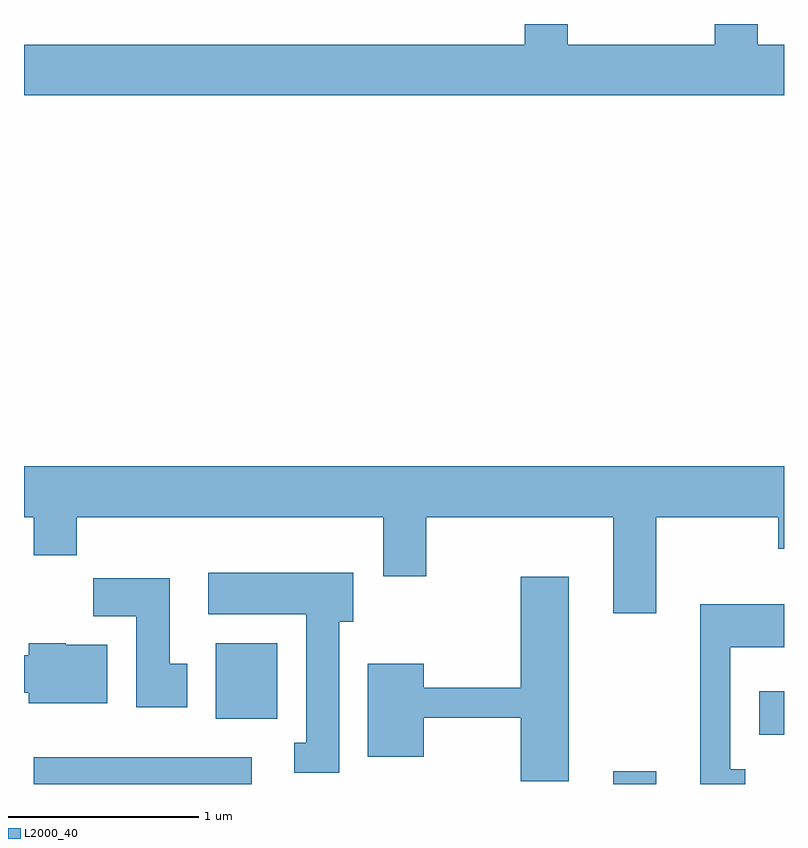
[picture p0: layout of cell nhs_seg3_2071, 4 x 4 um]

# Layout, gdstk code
import gdstk
lib = gdstk.Library(unit=1e-6, precision=1e-09)
def R(c, l, rs):  # rectangles x0, y0, x1, y1
    for r in rs: c.add(gdstk.rectangle(r[:2], r[2:], *l))
def P(c, l, *ps):  # polygons
    for p in ps: c.add(gdstk.Polygon(p, *l))
L2000_40 = (2000, 40)

nhs_seg3_2071 = lib.new_cell('nhs_seg3_2071')
R(nhs_seg3_2071, L2000_40, [(245.661,1177.892,246.809,1178.034), (248.711,1177.892,248.939,1177.959), (249.481,1178.151,249.611,1178.379), (246.621,1178.236,246.944,1178.634)])
P(nhs_seg3_2071, L2000_40, [(249.611,1181.784),(249.474,1181.784),(249.474,1181.892),(249.246,1181.892),(249.246,1181.784),(248.474,1181.784),(248.474,1181.892),(248.246,1181.892),(248.246,1181.784),(245.611,1181.784),(245.611,1181.516),(249.611,1181.516)],
  [(248.939,1179.296),(249.581,1179.296),(249.581,1179.131),(249.611,1179.131),(249.611,1179.564),(245.611,1179.564),(245.611,1179.296),(245.661,1179.296),(245.661,1179.096),(245.889,1179.096),(245.889,1179.296),(247.501,1179.296),(247.501,1178.986),(247.729,1178.986),(247.729,1179.296),(248.711,1179.296),(248.711,1178.791),(248.939,1178.791)],
  [(247.269,1178.746),(247.344,1178.746),(247.344,1179.004),(246.581,1179.004),(246.581,1178.786),(247.096,1178.786),(247.096,1178.109),(247.033,1178.109),(247.033,1177.951),(247.269,1177.951)],
  [(248.479,1178.984),(248.226,1178.984),(248.226,1178.399),(247.714,1178.399),(247.714,1178.524),(247.421,1178.524),(247.421,1178.036),(247.714,1178.036),(247.714,1178.241),(248.226,1178.241),(248.226,1177.906),(248.479,1177.906)],
  [(246.469,1178.524),(246.379,1178.524),(246.379,1178.974),(245.976,1178.974),(245.976,1178.776),(246.201,1178.776),(246.201,1178.296),(246.469,1178.296)],
  [(249.408,1177.969),(249.329,1177.969),(249.329,1178.611),(249.611,1178.611),(249.611,1178.839),(249.171,1178.839),(249.171,1177.892),(249.408,1177.892)],
  [(246.049,1178.624),(245.83,1178.624),(245.83,1178.634),(245.636,1178.634),(245.636,1178.569),(245.611,1178.569),(245.611,1178.371),(245.636,1178.371),(245.636,1178.316),(246.049,1178.316)])

lib.write_gds('nhs_seg3_2071.gds')
